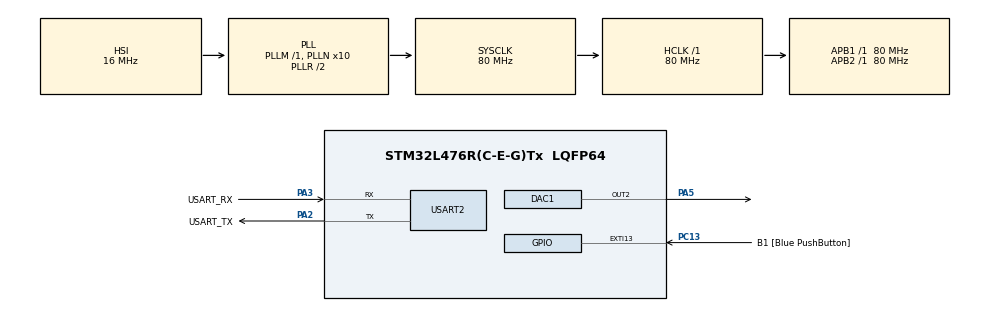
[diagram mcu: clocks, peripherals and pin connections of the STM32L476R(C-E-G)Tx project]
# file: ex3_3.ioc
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DAC1.DAC_Channel-DAC_OUT2=DAC_CHANNEL_2
Mcu.Family=STM32L4
Mcu.Name=STM32L476R(C-E-G)Tx
Mcu.Package=LQFP64
NVIC.PriorityGroup=NVIC_PRIORITYGROUP_4
NVIC.TIM6_DAC_IRQn=true\:0\:0\:false\:false\:true\:true\:true
NVIC.USART2_IRQn=true\:0\:0\:false\:false\:true\:true\:true
PA13\ (JTMS-SWDIO).GPIO_Label=TMS
PA13\ (JTMS-SWDIO).Mode=Serial_Wire
PA13\ (JTMS-SWDIO).Signal=SYS_JTMS-SWDIO
PA14\ (JTCK-SWCLK).GPIO_Label=TCK
PA14\ (JTCK-SWCLK).Mode=Serial_Wire
PA14\ (JTCK-SWCLK).Signal=SYS_JTCK-SWCLK
PA2.GPIO_Label=USART_TX
PA2.GPIO_Mode=GPIO_MODE_AF_PP
PA2.GPIO_PuPd=GPIO_NOPULL
PA2.GPIO_Speed=GPIO_SPEED_FREQ_VERY_HIGH
PA2.Mode=Asynchronous
PA2.Signal=USART2_TX
PA3.GPIO_Label=USART_RX
PA3.GPIO_Mode=GPIO_MODE_AF_PP
PA3.GPIO_PuPd=GPIO_NOPULL
PA3.GPIO_Speed=GPIO_SPEED_FREQ_VERY_HIGH
PA3.Mode=Asynchronous
PA3.Signal=USART2_RX
PA5.Signal=COMP_DAC12_group
PB3\ (JTDO-TRACESWO).GPIO_Label=SWO
PB3\ (JTDO-TRACESWO).Signal=SYS_JTDO-SWO
PC13.GPIO_Label=B1 [Blue PushButton]
PC13.GPIO_ModeDefaultEXTI=GPIO_MODE_IT_FALLING
PC13.GPIO_PuPd=GPIO_NOPULL
PC13.Signal=GPXTI13
PC14-OSC32_IN\ (PC14).Mode=LSE-External-Oscillator
PC14-OSC32_IN\ (PC14).Signal=RCC_OSC32_IN
PC15-OSC32_OUT\ (PC15).Mode=LSE-External-Oscillator
PC15-OSC32_OUT\ (PC15).Signal=RCC_OSC32_OUT
PH0-OSC_IN\ (PH0).Signal=RCC_OSC_IN
PH1-OSC_OUT\ (PH1).Signal=RCC_OSC_OUT
ProjectManager.HeapSize=0x200
ProjectManager.StackSize=0x400
ProjectManager.TargetToolchain=STM32CubeIDE
RCC.ADCFreq_Value=64000000
RCC.AHBFreq_Value=80000000
RCC.APB1Freq_Value=80000000
RCC.APB1TimFreq_Value=80000000
RCC.APB2Freq_Value=80000000
RCC.APB2TimFreq_Value=80000000
RCC.CortexFreq_Value=80000000
RCC.HCLKFreq_Value=80000000
RCC.HSE_VALUE=8000000
RCC.HSI_VALUE=16000000
RCC.MSI_VALUE=4000000
RCC.PLLN=10
RCC.PLLSourceVirtual=RCC_PLLSOURCE_HSI
RCC.PREFETCH_ENABLE=1
RCC.SYSCLKFreq_VALUE=80000000
RCC.SYSCLKSource=RCC_SYSCLKSOURCE_PLLCLK
RCC.USBFreq_Value=64000000
RCC.VCOOutputFreq_Value=160000000
SH.COMP_DAC12_group.0=DAC1_OUT2,DAC_OUT2
TIM6.AutoReloadPreload=TIM_AUTORELOAD_PRELOAD_ENABLE
TIM6.Period=19999
TIM6.Prescaler=7999
USART2.VirtualMode-Asynchronous=VM_ASYNC
VP_TIM6_VS_ClockSourceINT.Mode=Enable_Timer
board=NUCLEO-L476RG

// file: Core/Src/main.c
/* USER CODE BEGIN Header */
/**
  ******************************************************************************
  * @file           : main.c
  * @brief          : Main program body
  ******************************************************************************
  * @attention
  *
  * <h2><center>&copy; Copyright (c) 2021 STMicroelectronics.
  * All rights reserved.</center></h2>
  *
  * This software component is licensed by ST under BSD 3-Clause license,
  * the "License"; You may not use this file except in compliance with the
  * License. You may obtain a copy of the License at:
  *                        opensource.org/licenses/BSD-3-Clause
  *
  ******************************************************************************
  */
/* USER CODE END Header */
#include "main.h"
#include "dac.h"
#include "tim.h"
#include "usart.h"
#include "gpio.h"

/* USER CODE BEGIN Includes */
#include <stdio.h>
/* USER CODE END Includes */

/* USER CODE BEGIN PV */
volatile uint8_t flag;
volatile uint8_t cnt;
/* USER CODE END PV */

void SystemClock_Config(void);
/* USER CODE BEGIN PFP */
int _write(int file, char *ptr, int len){
	HAL_UART_Transmit_IT(&huart2, ptr, len);
	return len;
}

void HAL_TIM_PeriodElapsedCallback(TIM_HandleTypeDef *htim){
	if(htim == &htim6){
		flag=1;
		cnt++;
		if(cnt==8){
			cnt=0;
		}
	}

}
/* USER CODE END PFP */

int main(void)
{
  /* USER CODE BEGIN 1 */
	uint16_t Value[8]={0,39, 77, 116, 155, 193, 232, 255};
  /* USER CODE END 1 */

  /* MCU Configuration--------------------------------------------------------*/

  /* Reset of all peripherals, Initializes the Flash interface and the Systick. */
  HAL_Init();

  /* Configure the system clock */
  SystemClock_Config();

  /* Initialize all configured peripherals */
  MX_GPIO_Init();
  MX_USART2_UART_Init();
  MX_DAC1_Init();
  MX_TIM6_Init();
  /* USER CODE BEGIN 2 */
  HAL_DAC_SetValue(&hdac1 , DAC_CHANNEL_2, DAC_ALIGN_8B_R, 0);
  HAL_DAC_Start(&hdac1 , DAC_CHANNEL_2);
  HAL_TIM_Base_Start_IT(&htim6);

  /* USER CODE END 2 */

  /* Infinite loop */
  /* USER CODE BEGIN WHILE */
  while (1)
  {
	  if(flag==1){
		  HAL_DAC_SetValue(&hdac1 , DAC_CHANNEL_2, DAC_ALIGN_8B_R, Value[cnt]);
		  printf("wartos zadana w funkcji %d \r\n", Value[cnt]);
		  flag=0;
	  }
	  HAL_Delay(10);
    /* USER CODE END WHILE */

  }
}

void SystemClock_Config(void)
{
  RCC_OscInitTypeDef RCC_OscInitStruct = {0};
  RCC_ClkInitTypeDef RCC_ClkInitStruct = {0};
  RCC_PeriphCLKInitTypeDef PeriphClkInit = {0};

  /** Initializes the RCC Oscillators according to the specified parameters
  * in the RCC_OscInitTypeDef structure.
  */
  RCC_OscInitStruct.OscillatorType = RCC_OSCILLATORTYPE_HSI;
  RCC_OscInitStruct.HSIState = RCC_HSI_ON;
  RCC_OscInitStruct.HSICalibrationValue = RCC_HSICALIBRATION_DEFAULT;
  RCC_OscInitStruct.PLL.PLLState = RCC_PLL_ON;
  RCC_OscInitStruct.PLL.PLLSource = RCC_PLLSOURCE_HSI;
  RCC_OscInitStruct.PLL.PLLM = 1;
  RCC_OscInitStruct.PLL.PLLN = 10;
  RCC_OscInitStruct.PLL.PLLP = RCC_PLLP_DIV7;
  RCC_OscInitStruct.PLL.PLLQ = RCC_PLLQ_DIV2;
  RCC_OscInitStruct.PLL.PLLR = RCC_PLLR_DIV2;
  if (HAL_RCC_OscConfig(&RCC_OscInitStruct) != HAL_OK)
  {
    Error_Handler();
  }
  /** Initializes the CPU, AHB and APB buses clocks
  */
  RCC_ClkInitStruct.ClockType = RCC_CLOCKTYPE_HCLK|RCC_CLOCKTYPE_SYSCLK
                              |RCC_CLOCKTYPE_PCLK1|RCC_CLOCKTYPE_PCLK2;
  RCC_ClkInitStruct.SYSCLKSource = RCC_SYSCLKSOURCE_PLLCLK;
  RCC_ClkInitStruct.AHBCLKDivider = RCC_SYSCLK_DIV1;
  RCC_ClkInitStruct.APB1CLKDivider = RCC_HCLK_DIV1;
  RCC_ClkInitStruct.APB2CLKDivider = RCC_HCLK_DIV1;

  if (HAL_RCC_ClockConfig(&RCC_ClkInitStruct, FLASH_LATENCY_4) != HAL_OK)
  {
    Error_Handler();
  }
  PeriphClkInit.PeriphClockSelection = RCC_PERIPHCLK_USART2;
  PeriphClkInit.Usart2ClockSelection = RCC_USART2CLKSOURCE_PCLK1;
  if (HAL_RCCEx_PeriphCLKConfig(&PeriphClkInit) != HAL_OK)
  {
    Error_Handler();
  }
  /** Configure the main internal regulator output voltage
  */
  if (HAL_PWREx_ControlVoltageScaling(PWR_REGULATOR_VOLTAGE_SCALE1) != HAL_OK)
  {
    Error_Handler();
  }
}

void Error_Handler(void)
{
}

/************************ (C) COPYRIGHT STMicroelectronics *****END OF FILE****/
